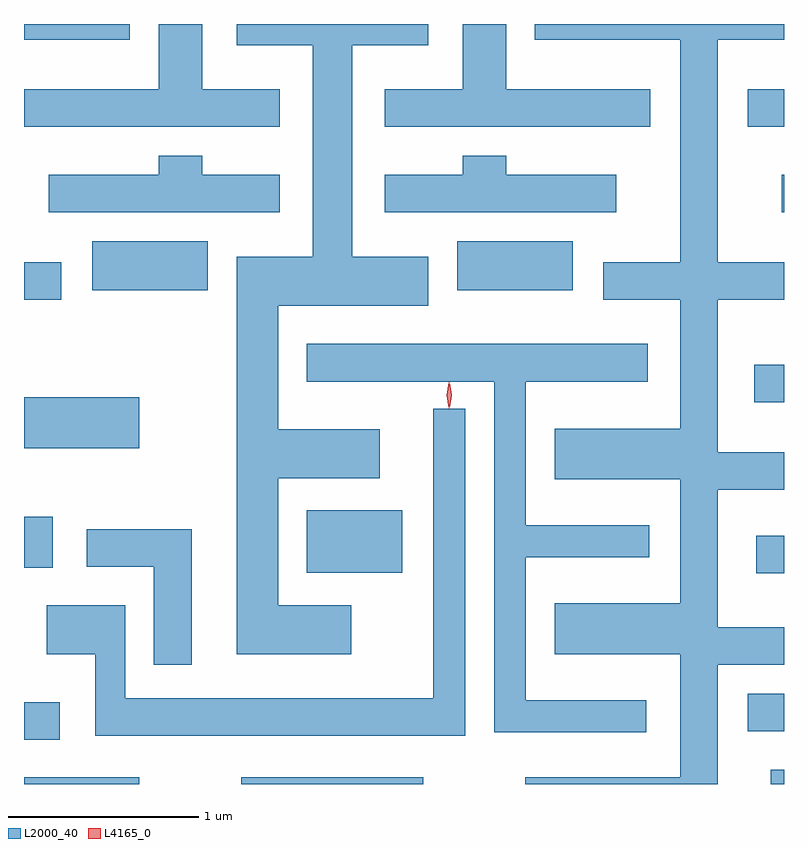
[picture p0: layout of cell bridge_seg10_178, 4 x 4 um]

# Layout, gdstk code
import gdstk
lib = gdstk.Library(unit=1e-6, precision=1e-09)
def R(c, l, rs):  # rectangles x0, y0, x1, y1
    for r in rs: c.add(gdstk.rectangle(r[:2], r[2:], *l))
def P(c, l, *ps):  # polygons
    for p in ps: c.add(gdstk.Polygon(p, *l))
L2000_40 = (2000, 40)
L4165_0 = (4165, 0)

bridge_seg10_178 = lib.new_cell('bridge_seg10_178')
R(bridge_seg10_178, L2000_40, [(1862.117,2140.198,1862.724,2140.234), (1863.261,2140.198,1864.219,2140.234), (1866.046,2140.198,1866.117,2140.274), (1862.117,2140.431,1862.304,2140.629), (1865.926,2140.476,1866.117,2140.674), (1865.971,2141.306,1866.117,2141.504), (1863.606,2141.311,1864.109,2141.639), (1862.117,2141.336,1862.269,2141.604), (1862.117,2141.966,1862.724,2142.234), (1865.961,2142.206,1866.117,2142.404), (1862.117,2142.746,1862.314,2142.944), (1862.476,2142.796,1863.084,2143.054), (1864.396,2142.796,1865.004,2143.054), (1866.106,2143.206,1866.117,2143.404), (1865.926,2143.656,1866.117,2143.854), (1862.117,2144.116,1862.674,2144.198)])
P(bridge_seg10_178, L2000_40, [(1863.839,2141.139),(1863.454,2141.139),(1863.454,2141.806),(1863.989,2141.806),(1863.989,2142.064),(1863.454,2142.064),(1863.454,2142.716),(1864.244,2142.716),(1864.244,2142.974),(1863.844,2142.974),(1863.844,2144.086),(1864.244,2144.086),(1864.244,2144.198),(1863.236,2144.198),(1863.236,2144.086),(1863.636,2144.086),(1863.636,2142.974),(1863.236,2142.974),(1863.236,2140.881),(1863.839,2140.881)],
  [(1864.911,2142.069),(1864.911,2141.801),(1865.571,2141.801),(1865.571,2141.149),(1864.911,2141.149),(1864.911,2140.881),(1865.571,2140.881),(1865.571,2140.234),(1864.756,2140.234),(1864.756,2140.198),(1865.769,2140.198),(1865.769,2140.826),(1866.117,2140.826),(1866.117,2141.024),(1865.769,2141.024),(1865.769,2141.746),(1866.117,2141.746),(1866.117,2141.944),(1865.769,2141.944),(1865.769,2142.746),(1866.117,2142.746),(1866.117,2142.944),(1865.769,2142.944),(1865.769,2144.116),(1866.117,2144.116),(1866.117,2144.198),(1864.806,2144.198),(1864.806,2144.116),(1865.571,2144.116),(1865.571,2142.944),(1865.166,2142.944),(1865.166,2142.746),(1865.571,2142.746),(1865.571,2142.069)],
  [(1863.464,2143.854),(1863.054,2143.854),(1863.054,2144.198),(1862.826,2144.198),(1862.826,2143.854),(1862.117,2143.854),(1862.117,2143.656),(1863.464,2143.656)],
  [(1865.414,2143.854),(1864.654,2143.854),(1864.654,2144.198),(1864.426,2144.198),(1864.426,2143.854),(1864.016,2143.854),(1864.016,2143.656),(1865.414,2143.656)],
  [(1865.234,2143.404),(1864.654,2143.404),(1864.654,2143.504),(1864.426,2143.504),(1864.426,2143.404),(1864.016,2143.404),(1864.016,2143.206),(1865.234,2143.206)],
  [(1863.464,2143.404),(1863.054,2143.404),(1863.054,2143.504),(1862.826,2143.504),(1862.826,2143.404),(1862.246,2143.404),(1862.246,2143.206),(1863.464,2143.206)],
  [(1865.393,2140.639),(1864.759,2140.639),(1864.759,2141.391),(1865.408,2141.391),(1865.408,2141.559),(1864.759,2141.559),(1864.759,2142.316),(1865.399,2142.316),(1865.399,2142.514),(1863.606,2142.514),(1863.606,2142.316),(1864.591,2142.316),(1864.591,2140.471),(1865.393,2140.471)],
  [(1864.439,2142.173),(1864.271,2142.173),(1864.271,2140.649),(1862.649,2140.649),(1862.649,2141.139),(1862.236,2141.139),(1862.236,2140.881),(1862.491,2140.881),(1862.491,2140.451),(1864.439,2140.451)],
  [(1862.999,2141.539),(1862.446,2141.539),(1862.446,2141.341),(1862.801,2141.341),(1862.801,2140.826),(1862.999,2140.826)])
P(bridge_seg10_178, L4165_0, [(1864.353,2142.174),(1864.352,2142.175),(1864.343,2142.244),(1864.352,2142.313),(1864.353,2142.314),(1864.353,2142.313),(1864.363,2142.244),(1864.353,2142.175)],
  [(1864.357,2142.178),(1864.348,2142.244),(1864.358,2142.31),(1864.358,2142.311),(1864.359,2142.31),(1864.368,2142.244),(1864.358,2142.178),(1864.358,2142.178)])

lib.write_gds('bridge_seg10_178.gds')
